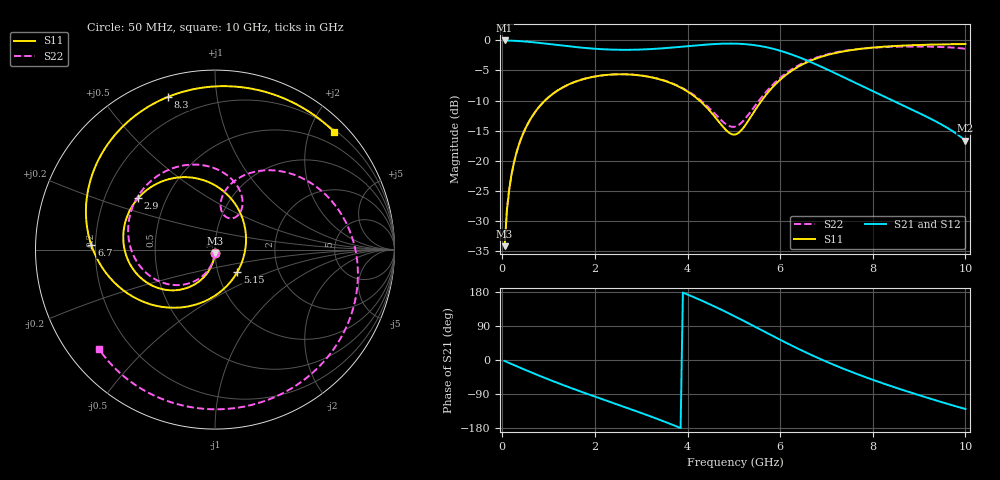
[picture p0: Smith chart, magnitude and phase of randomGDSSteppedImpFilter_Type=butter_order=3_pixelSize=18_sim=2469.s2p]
! freq	dB(S11)	phase(S11)	dB(S12)	phase(S12)
!  dB(S21)	phase(S21)	dB(S22)	phase(S22)
!S-par simulation data
#  GHz  S  DB  R 50
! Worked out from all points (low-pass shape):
!   200 points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, 50 MHz to 10 GHz, reference 50 ohm
!   highest |S21| = 0.00 dB at 50 MHz (marker M1); lowest = -16.7 dB at 10 GHz (marker M2)
!   |S21| within 3 dB of the highest: start of sweep to 6.476 GHz
!   lowest |S11| = -34.2 dB at 50 MHz (marker M3), VSWR 1.04, Z = 49.9 - j1.94 ohm
!   |S11| at or under -10 dB: start of sweep to 922.3 MHz; 4.259 GHz to 5.601 GHz (1.342 GHz wide, 27.2 % of centre)
!   |S22| runs from -34.2 to -1.0 dB; largest |S21 - S12| = 0
!   S11 on the Smith chart (normalised r, x): 50 MHz: 1.00, -0.04; 2.9 GHz: 0.35, +0.27; 5.15 GHz: 1.24, -0.32; 6.7 GHz: 0.18, +0.02; 8.3 GHz: 0.09, +0.74; 10 GHz: 0.24, +2.41
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0.05  -34.22 -92.5  -0.00 -2.7  -0.00 -2.7  -34.22 -92.9
0.1  -28.22 -95.2  -0.01 -5.4  -0.01 -5.4  -28.23 -96.0
0.2  -22.28 -100.3  -0.04 -10.7  -0.04 -10.7  -22.28 -101.9
0.5  -14.64 -114.8  -0.19 -26.3  -0.19 -26.3  -14.64 -118.9
1.1  -8.83 -142.1  -0.68 -56.1  -0.68 -56.1  -8.84 -151.3
1.75  -6.44 -168.9  -1.23 -85.7  -1.23 -85.7  -6.44 176.3
2.3  -5.70 169.7  -1.51 -109.5  -1.51 -109.5  -5.70 150.2
2.9  -5.76 146.3  -1.54 -135.4  -1.54 -135.4  -5.75 122.1
3.4  -6.47 125.2  -1.35 -157.9  -1.35 -157.9  -6.44 98.7
4.25  -9.94 78.7  -0.79 159.8  -0.79 159.8  -9.74 62.4
4.65  -13.27 41.7  -0.57 137.4  -0.57 137.4  -12.67 56.1
5.05  -15.60 -26.2  -0.54 113.4  -0.54 113.4  -14.29 72.2
5.15  -15.04 -45.7  -0.57 107.2  -0.57 107.2  -13.79 77.5
5.5  -11.12 -96.7  -0.84 85.1  -0.84 85.1  -10.44 82.1
5.9  -7.27 -132.4  -1.49 59.7  -1.49 59.7  -6.91 67.8
6.3  -4.79 -159.3  -2.48 35.0  -2.48 35.0  -4.56 46.3
6.7  -3.23 178.0  -3.73 11.8  -3.73 11.8  -3.08 23.2
7.45  -1.71 141.9  -6.41 -27.1  -6.41 -27.1  -1.66 -17.8
8.3  -1.01 107.0  -9.53 -65.0  -9.53 -65.0  -1.10 -59.1
8.35  -0.98 105.1  -9.71 -67.1  -9.71 -67.1  -1.08 -61.4
9.2  -0.71 73.4  -12.83 -100.5  -12.83 -100.5  -1.03 -99.2
10  -0.60 44.7  -16.67 -129.2  -16.67 -129.2  -1.40 -139.5
